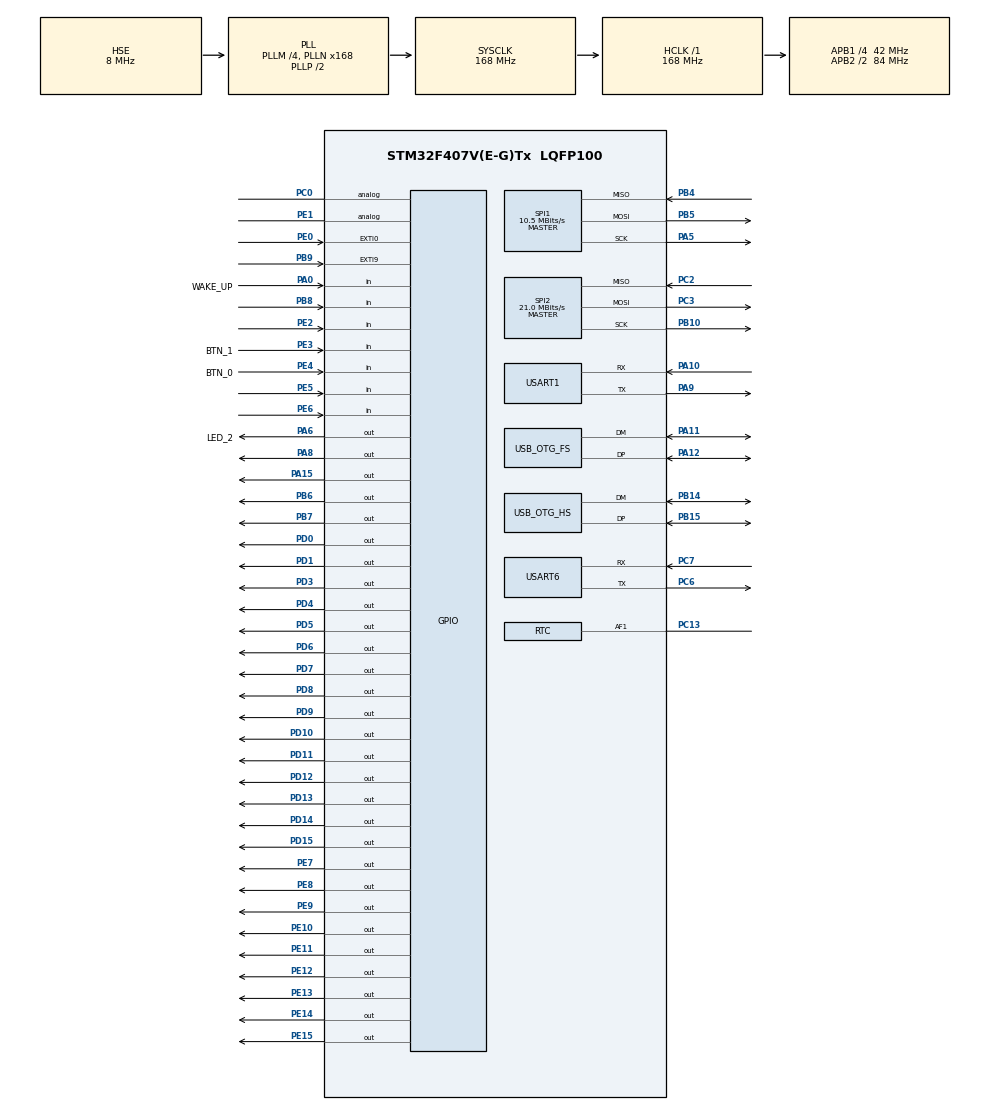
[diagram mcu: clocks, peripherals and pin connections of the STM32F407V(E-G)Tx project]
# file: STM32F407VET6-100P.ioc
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Dma.Request0=USART6_RX
Dma.Request1=USART6_TX
Dma.Request2=USART1_RX
Dma.Request3=USART1_TX
Dma.USART1_RX.2.Direction=DMA_PERIPH_TO_MEMORY
Dma.USART1_RX.2.FIFOMode=DMA_FIFOMODE_DISABLE
Dma.USART1_RX.2.Instance=DMA2_Stream2
Dma.USART1_RX.2.MemDataAlignment=DMA_MDATAALIGN_BYTE
Dma.USART1_RX.2.MemInc=DMA_MINC_ENABLE
Dma.USART1_RX.2.Mode=DMA_NORMAL
Dma.USART1_RX.2.PeriphDataAlignment=DMA_PDATAALIGN_BYTE
Dma.USART1_RX.2.PeriphInc=DMA_PINC_DISABLE
Dma.USART1_RX.2.Priority=DMA_PRIORITY_LOW
Dma.USART1_TX.3.Direction=DMA_MEMORY_TO_PERIPH
Dma.USART1_TX.3.FIFOMode=DMA_FIFOMODE_DISABLE
Dma.USART1_TX.3.Instance=DMA2_Stream7
Dma.USART1_TX.3.MemDataAlignment=DMA_MDATAALIGN_BYTE
Dma.USART1_TX.3.MemInc=DMA_MINC_ENABLE
Dma.USART1_TX.3.Mode=DMA_NORMAL
Dma.USART1_TX.3.PeriphDataAlignment=DMA_PDATAALIGN_BYTE
Dma.USART1_TX.3.PeriphInc=DMA_PINC_DISABLE
Dma.USART1_TX.3.Priority=DMA_PRIORITY_LOW
Dma.USART6_RX.0.Direction=DMA_PERIPH_TO_MEMORY
Dma.USART6_RX.0.FIFOMode=DMA_FIFOMODE_DISABLE
Dma.USART6_RX.0.Instance=DMA2_Stream1
Dma.USART6_RX.0.MemDataAlignment=DMA_MDATAALIGN_BYTE
Dma.USART6_RX.0.MemInc=DMA_MINC_ENABLE
Dma.USART6_RX.0.Mode=DMA_NORMAL
Dma.USART6_RX.0.PeriphDataAlignment=DMA_PDATAALIGN_BYTE
Dma.USART6_RX.0.PeriphInc=DMA_PINC_DISABLE
Dma.USART6_RX.0.Priority=DMA_PRIORITY_LOW
Dma.USART6_TX.1.Direction=DMA_MEMORY_TO_PERIPH
Dma.USART6_TX.1.FIFOMode=DMA_FIFOMODE_DISABLE
Dma.USART6_TX.1.Instance=DMA2_Stream6
Dma.USART6_TX.1.MemDataAlignment=DMA_MDATAALIGN_BYTE
Dma.USART6_TX.1.MemInc=DMA_MINC_ENABLE
Dma.USART6_TX.1.Mode=DMA_NORMAL
Dma.USART6_TX.1.PeriphDataAlignment=DMA_PDATAALIGN_BYTE
Dma.USART6_TX.1.PeriphInc=DMA_PINC_DISABLE
Dma.USART6_TX.1.Priority=DMA_PRIORITY_LOW
IWDG.Prescaler=IWDG_PRESCALER_8
Mcu.Family=STM32F4
Mcu.Name=STM32F407V(E-G)Tx
Mcu.Package=LQFP100
NVIC.DMA2_Stream1_IRQn=true\:0\:0\:false\:false\:true\:false\:true
NVIC.DMA2_Stream2_IRQn=true\:0\:0\:false\:false\:true\:false\:true
NVIC.DMA2_Stream6_IRQn=true\:0\:0\:true\:false\:true\:false\:true
NVIC.DMA2_Stream7_IRQn=true\:0\:0\:true\:false\:true\:false\:true
NVIC.OTG_FS_IRQn=true\:5\:0\:true\:false\:true\:true\:true
NVIC.OTG_HS_EP1_IN_IRQn=true\:6\:0\:true\:false\:true\:true\:true
NVIC.OTG_HS_EP1_OUT_IRQn=true\:6\:0\:true\:false\:true\:true\:true
NVIC.OTG_HS_IRQn=true\:7\:0\:true\:false\:true\:true\:true
NVIC.PriorityGroup=NVIC_PRIORITYGROUP_4
NVIC.RTC_Alarm_IRQn=true\:0\:0\:false\:false\:true\:true\:true
NVIC.SPI1_IRQn=true\:7\:0\:true\:false\:true\:true\:true
NVIC.SPI2_IRQn=true\:3\:0\:true\:false\:true\:true\:true
NVIC.USART1_IRQn=true\:6\:0\:true\:false\:true\:true\:true
NVIC.USART6_IRQn=true\:6\:0\:true\:false\:true\:true\:true
PA0-WKUP.GPIO_Label=WAKE_UP
PA0-WKUP.Signal=GPIO_Input
PA10.Mode=Asynchronous
PA10.Signal=USART1_RX
PA11.Mode=Device_Only
PA11.Signal=USB_OTG_FS_DM
PA12.Mode=Device_Only
PA12.Signal=USB_OTG_FS_DP
PA13.Mode=Trace_Asynchronous_SW
PA13.Signal=SYS_JTMS-SWDIO
PA14.Mode=Trace_Asynchronous_SW
PA14.Signal=SYS_JTCK-SWCLK
PA15.Signal=GPIO_Output
PA5.Mode=Full_Duplex_Master
PA5.Signal=SPI1_SCK
PA6.GPIO_Label=LED_2
PA6.GPIO_ModeDefaultOutputPP=GPIO_MODE_OUTPUT_PP
PA6.GPIO_PuPd=GPIO_NOPULL
PA6.GPIO_Speed=GPIO_SPEED_FREQ_LOW
PA6.PinState=GPIO_PIN_RESET
PA6.Signal=GPIO_Output
PA8.Signal=GPIO_Output
PA9.Mode=Asynchronous
PA9.Signal=USART1_TX
PB10.Mode=Full_Duplex_Master
PB10.Signal=SPI2_SCK
PB14.Mode=Device_Only_FS
PB14.Signal=USB_OTG_HS_DM
PB15.Mode=Device_Only_FS
PB15.Signal=USB_OTG_HS_DP
PB3.Mode=Trace_Asynchronous_SW
PB3.Signal=SYS_JTDO-SWO
PB4.GPIO_Mode=GPIO_MODE_AF_PP
PB4.GPIO_PuPd=GPIO_NOPULL
PB4.GPIO_Speed=GPIO_SPEED_FREQ_VERY_HIGH
PB4.Mode=Full_Duplex_Master
PB4.Signal=SPI1_MISO
PB5.GPIO_Mode=GPIO_MODE_AF_PP
PB5.GPIO_PuPd=GPIO_NOPULL
PB5.GPIO_Speed=GPIO_SPEED_FREQ_VERY_HIGH
PB5.Mode=Full_Duplex_Master
PB5.Signal=SPI1_MOSI
PB6.GPIO_ModeDefaultOutputPP=GPIO_MODE_OUTPUT_PP
PB6.GPIO_PuPd=GPIO_NOPULL
PB6.GPIO_Speed=GPIO_SPEED_FREQ_LOW
PB6.PinState=GPIO_PIN_RESET
PB6.Signal=GPIO_Output
PB7.GPIO_ModeDefaultOutputPP=GPIO_MODE_OUTPUT_PP
PB7.GPIO_PuPd=GPIO_NOPULL
PB7.GPIO_Speed=GPIO_SPEED_FREQ_LOW
PB7.PinState=GPIO_PIN_RESET
PB7.Signal=GPIO_Output
PB8.GPIO_Mode=GPIO_MODE_INPUT
PB8.GPIO_PuPd=GPIO_NOPULL
PB8.Signal=GPIO_Input
PB9.Signal=GPXTI9
PC0.Signal=GPIO_Analog
PC13-ANTI_TAMP.Mode=AlarmA_RoutedAF
PC13-ANTI_TAMP.Signal=RTC_AF1
PC14-OSC32_IN.Mode=LSE-External-Oscillator
PC14-OSC32_IN.Signal=RCC_OSC32_IN
PC15-OSC32_OUT.Mode=LSE-External-Oscillator
PC15-OSC32_OUT.Signal=RCC_OSC32_OUT
PC2.Mode=Full_Duplex_Master
PC2.Signal=SPI2_MISO
PC3.Mode=Full_Duplex_Master
PC3.Signal=SPI2_MOSI
PC6.Mode=Asynchronous
PC6.Signal=USART6_TX
PC7.Mode=Asynchronous
PC7.Signal=USART6_RX
PD0.Signal=GPIO_Output
PD1.Signal=GPIO_Output
PD10.Signal=GPIO_Output
PD11.Signal=GPIO_Output
PD12.Signal=GPIO_Output
PD13.Signal=GPIO_Output
PD14.Signal=GPIO_Output
PD15.Signal=GPIO_Output
PD3.Signal=GPIO_Output
PD4.Signal=GPIO_Output
PD5.Signal=GPIO_Output
PD6.Signal=GPIO_Output
PD7.Signal=GPIO_Output
PD8.Signal=GPIO_Output
PD9.Signal=GPIO_Output
PE0.Signal=GPXTI0
PE1.Signal=GPIO_Analog
PE10.Signal=GPIO_Output
PE11.Signal=GPIO_Output
PE12.Signal=GPIO_Output
PE13.Signal=GPIO_Output
PE14.Signal=GPIO_Output
PE15.Signal=GPIO_Output
PE2.Signal=GPIO_Input
PE3.GPIO_Label=BTN_1
PE3.Signal=GPIO_Input
PE4.GPIO_Label=BTN_0
PE4.GPIO_Mode=GPIO_MODE_INPUT
PE4.GPIO_PuPd=GPIO_NOPULL
PE4.Signal=GPIO_Input
PE5.Signal=GPIO_Input
PE6.Signal=GPIO_Input
PE7.Signal=GPIO_Output
PE8.Signal=GPIO_Output
PE9.Signal=GPIO_Output
PH0-OSC_IN.Mode=HSE-External-Oscillator
PH0-OSC_IN.Signal=RCC_OSC_IN
PH1-OSC_OUT.Mode=HSE-External-Oscillator
PH1-OSC_OUT.Signal=RCC_OSC_OUT
ProjectManager.HeapSize=0x4000
ProjectManager.StackSize=0x8000
ProjectManager.TargetToolchain=MDK-ARM V5
RCC.48MHZClocksFreq_Value=48000000
RCC.AHBFreq_Value=168000000
RCC.APB1CLKDivider=RCC_HCLK_DIV4
RCC.APB1Freq_Value=42000000
RCC.APB1TimFreq_Value=84000000
RCC.APB2CLKDivider=RCC_HCLK_DIV2
RCC.APB2Freq_Value=84000000
RCC.APB2TimFreq_Value=168000000
RCC.CortexFreq_Value=168000000
RCC.HCLKFreq_Value=168000000
RCC.HSE_VALUE=8000000
RCC.HSI_VALUE=16000000
RCC.PLLM=4
RCC.PLLN=168
RCC.PLLQ=7
RCC.RCC_RTC_Clock_Source=RCC_RTCCLKSOURCE_LSE
RCC.RCC_RTC_Clock_SourceVirtual=RCC_RTCCLKSOURCE_LSE
RCC.SYSCLKFreq_VALUE=168000000
RCC.SYSCLKSource=RCC_SYSCLKSOURCE_PLLCLK
RCC.VCOOutputFreq_Value=336000000
RTC.Alarm=RTC_ALARM_A
SPI1.BaudRatePrescaler=SPI_BAUDRATEPRESCALER_8
SPI1.CalculateBaudRate=10.5 MBits/s
SPI1.Direction=SPI_DIRECTION_2LINES
SPI1.Mode=SPI_MODE_MASTER
SPI1.VirtualType=VM_MASTER
SPI2.CalculateBaudRate=21.0 MBits/s
SPI2.Direction=SPI_DIRECTION_2LINES
SPI2.Mode=SPI_MODE_MASTER
SPI2.VirtualType=VM_MASTER
USART1.VirtualMode=VM_ASYNC
USART6.VirtualMode=VM_ASYNC
USB_DEVICE.CLASS_NAME_FS=CDC
USB_DEVICE.VirtualMode-CDC_FS=Cdc
USB_DEVICE.VirtualModeFS=Cdc_FS
USB_OTG_FS.VirtualMode=Device_Only
USB_OTG_HS.VirtualMode-Device_Only_FS=Device_Only_FS
VP_CRC_VS_CRC.Mode=CRC_Activate
VP_IWDG_VS_IWDG.Mode=IWDG_Activate
VP_RTC_VS_RTC_Activate.Mode=RTC_Enabled
VP_RTC_VS_RTC_Calendar.Mode=RTC_Calendar
VP_USB_DEVICE_VS_USB_DEVICE_CDC_FS.Mode=CDC_FS
board=custom

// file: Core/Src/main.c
/* USER CODE BEGIN Header */
/**
  ******************************************************************************
  * @file           : main.c
  * @brief          : Main program body
  ******************************************************************************
  * @attention
  *
  * <h2><center>&copy; Copyright (c) 2019 STMicroelectronics.
  * All rights reserved.</center></h2>
  *
  * This software component is licensed by ST under Ultimate Liberty license
  * SLA0044, the "License"; You may not use this file except in compliance with
  * the License. You may obtain a copy of the License at:
  *                             www.st.com/SLA0044
  *
  ******************************************************************************
  */
/* USER CODE END Header */

#include "main.h"
#include "crc.h"
#include "dma.h"
#include "iwdg.h"
#include "rtc.h"
#include "spi.h"
#include "usart.h"
//#include "usb_device.h"
//#include "usb_otg_hs.h"
#include "gpio.h"

/* USER CODE BEGIN Includes */
#include <stdlib.h>
#include <string.h>
#include <stdio.h>
#include "cmsis_os.h"                   // ARM::CMSIS:RTOS:Keil RTX
#include "rl_fs.h"                      // Keil.MDK-Plus::File System:CORE
#include "rl_net.h"                     // Keil.MDK-Pro::Network:CORE

//#include "usbd_cdc_if.h"

#define BT_port GPIOE
#define rd(k)  HAL_GPIO_ReadPin(BT_port, k)

#define BT_SET  GPIO_PIN_2
#define BT_UP   GPIO_PIN_3
#define BT_DW   GPIO_PIN_4

void toggle_led1 (void const *arg);
void toggle_led2 (void const *arg);
void show7segment (void const *arg);
void readswitch (void const *arg);

osThreadDef (toggle_led1, osPriorityNormal, 1, 0);
osThreadDef (toggle_led2, osPriorityNormal, 1, 0);
osThreadDef (show7segment, osPriorityNormal, 1, 0);
osThreadDef (readswitch, osPriorityNormal, 1, 0);

osThreadId ID_th1;
osThreadId ID_th2;
osThreadId ID_th3;
osThreadId ID_th4;

osSemaphoreDef(accessdata);
osSemaphoreId (accessdata_id);

/* USER CODE END Includes */

/* USER CODE BEGIN PTD */

FILE *fl;
RTC_TimeTypeDef Timeupdate = {0} ;
RTC_DateTypeDef Dateupdate = {0};
RTC_TimeTypeDef Timeset = {0} ;
RTC_DateTypeDef Dateset = {0};

uint8_t clockdata[4] = {0};
uint8_t datedata[4] = {0};
uint8_t timedata[8] = {0};
uint8_t menusetup;

//const char digits[]= {128,64,32,16,8,4,2,1 };
const char digits[]= {1,2,4,8,16,32,64,128 };
						//digit   1 2 3 4 not
//const char digits[]= {1,2,4,8,0};

//character set (0-9)0-9
  //            (10-19)0.-9.
  //            (20-45)A-Z
  //            (46-71)a-z
  //            (72)- (73) space
const char characters[]= {
	//0  1    2     3   4    5    6    7    8    9    10
 0xC0,0xF9,0xA4,0xB0,0x99,0x92,0x82,0xF8,0x80,0x90,0xFF,
}; //72-73
//        0           1          2        3					4					5			     6			7
//enum{standby, setMinutes, setHours ,setDate, setMonth, setWeekday, setYear ,save};
enum{standby, setMinutes, setHours ,setDate, setMonth,save};
uint8_t modesetup = standby;

/* USER CODE END PTD */

/* USER CODE BEGIN PM */

uint16_t spitxcount;
void HAL_SPI_TxCpltCallback(SPI_HandleTypeDef *hspi)
{
	if(hspi->Instance == SPI1){
		spitxcount++;
		HAL_GPIO_WritePin(GPIOB,GPIO_PIN_7,GPIO_PIN_SET);
		//osDelay(1);
		HAL_GPIO_WritePin(GPIOB,GPIO_PIN_7,GPIO_PIN_RESET);
	}

}

/* USER CODE END PM */

/* USER CODE BEGIN PV */

int32_t udp_sock;

// Notify the user application about UDP socket events.
uint32_t udp_cb_func (int32_t socket, const NET_ADDR *addr, const uint8_t *buf, uint32_t len) {

	return 0;
}

// Send UDP data to destination client.
void test_send_udp_data (void) {

  if (udp_sock >= 0) {
    // IPv4 address: 192.168.0.1
    NET_ADDR addr = { NET_ADDR_IP4, 20001, 192, 168, 1, 10 };

    uint8_t *sendbuf;
		const char my_name[] = "P'Boat.";
		uint16_t len = sizeof(my_name);

    sendbuf = netUDP_GetBuffer ( len );

		memcpy ( sendbuf , my_name , len );

		netUDP_Send (udp_sock, &addr, sendbuf, len );

  }
}

/* USER CODE END PV */

void SystemClock_Config(void);

int main(void)
{

  /* MCU Configuration--------------------------------------------------------*/

  /* Reset of all
	peripherals, Initializes the Flash interface and the Systick. */
  HAL_Init();

  /* USER CODE BEGIN Init */

	static fsStatus SDCard_State;

  /* USER CODE END Init */

  /* Configure the system clock */
  SystemClock_Config();

  /* USER CODE BEGIN SysInit */

	osKernelInitialize();
	netInitialize();

  /* USER CODE END SysInit */

  /* Initialize all configured peripherals */
  MX_GPIO_Init();
  MX_DMA_Init();
  MX_SPI1_Init();
  MX_USART1_UART_Init();
  MX_CRC_Init();
  MX_RTC_Init();
//  MX_USB_DEVICE_Init();
//  MX_IWDG_Init();
  MX_SPI2_Init();
  MX_USART6_UART_Init();
//  MX_USB_OTG_HS_PCD_Init();
  /* USER CODE BEGIN 2 */

	for(uint8_t i =0; i<255; i++)
  {
		HAL_IWDG_Refresh(&hiwdg);
		HAL_GPIO_TogglePin(GPIOA,GPIO_PIN_6);
		HAL_GPIO_TogglePin(GPIOA,GPIO_PIN_7);
		osDelay(20);
  }

	SDCard_State = finit ("M0:");
	SDCard_State = fmount ("M0:");
	osDelay(5);
	fl = fopen ("M0:Logging.CSV","a");     /* Open a file from current drive. */

	osKernelStart();
	accessdata_id = osSemaphoreCreate(osSemaphore(accessdata), 1);
	ID_th1 = osThreadCreate(osThread(toggle_led1), NULL);
	ID_th2 = osThreadCreate(osThread(toggle_led2), NULL);
	ID_th3 = osThreadCreate(osThread(show7segment), NULL);
	ID_th4 = osThreadCreate(osThread(readswitch), NULL);

	udp_sock = netUDP_GetSocket (udp_cb_func);
	if (udp_sock >= 0) {
		netUDP_Open (udp_sock,1138);
	}

  /* USER CODE END 2 */

  /* Infinite loop */
  while (1)
  {

		//HAL_IWDG_Refresh(&hiwdg);
		osDelay(200);

  }
}

void SystemClock_Config(void)
{
  RCC_OscInitTypeDef RCC_OscInitStruct = {0};
  RCC_ClkInitTypeDef RCC_ClkInitStruct = {0};
  RCC_PeriphCLKInitTypeDef PeriphClkInitStruct = {0};

  /** Configure the main internal regulator output voltage
  */
  __HAL_RCC_PWR_CLK_ENABLE();
  __HAL_PWR_VOLTAGESCALING_CONFIG(PWR_REGULATOR_VOLTAGE_SCALE1);
  /** Initializes the CPU, AHB and APB busses clocks
  */
  RCC_OscInitStruct.OscillatorType = RCC_OSCILLATORTYPE_LSI|RCC_OSCILLATORTYPE_HSE
                              |RCC_OSCILLATORTYPE_LSE;
  RCC_OscInitStruct.HSEState = RCC_HSE_ON;
  RCC_OscInitStruct.LSEState = RCC_LSE_ON;
  RCC_OscInitStruct.LSIState = RCC_LSI_ON;
  RCC_OscInitStruct.PLL.PLLState = RCC_PLL_ON;
  RCC_OscInitStruct.PLL.PLLSource = RCC_PLLSOURCE_HSE;
  RCC_OscInitStruct.PLL.PLLM = 4;
  RCC_OscInitStruct.PLL.PLLN = 168;
  RCC_OscInitStruct.PLL.PLLP = RCC_PLLP_DIV2;
  RCC_OscInitStruct.PLL.PLLQ = 7;
  if (HAL_RCC_OscConfig(&RCC_OscInitStruct) != HAL_OK)
  {
    Error_Handler();
  }
  /** Initializes the CPU, AHB and APB busses clocks
  */
  RCC_ClkInitStruct.ClockType = RCC_CLOCKTYPE_HCLK|RCC_CLOCKTYPE_SYSCLK
                              |RCC_CLOCKTYPE_PCLK1|RCC_CLOCKTYPE_PCLK2;
  RCC_ClkInitStruct.SYSCLKSource = RCC_SYSCLKSOURCE_PLLCLK;
  RCC_ClkInitStruct.AHBCLKDivider = RCC_SYSCLK_DIV1;
  RCC_ClkInitStruct.APB1CLKDivider = RCC_HCLK_DIV4;
  RCC_ClkInitStruct.APB2CLKDivider = RCC_HCLK_DIV2;

  if (HAL_RCC_ClockConfig(&RCC_ClkInitStruct, FLASH_LATENCY_5) != HAL_OK)
  {
    Error_Handler();
  }
  PeriphClkInitStruct.PeriphClockSelection = RCC_PERIPHCLK_RTC;
  PeriphClkInitStruct.RTCClockSelection = RCC_RTCCLKSOURCE_LSE;
  if (HAL_RCCEx_PeriphCLKConfig(&PeriphClkInitStruct) != HAL_OK)
  {
    Error_Handler();
  }
}

/* USER CODE BEGIN 4 */

uint16_t fcount=1 ;
void toggle_led1(void const * arg )
{

	while (1)
  {

		if(fl != NULL){
			if(fcount % 10 == 0){
				fprintf(fl, "Index(%d)%d:%d:%d %d/%d/%d\n",fcount,Timeupdate.Hours,Timeupdate.Minutes,Timeupdate.Seconds,Dateupdate.Date,Dateupdate.Month,Dateupdate.Year);
				fclose(fl);
				fl = fopen ("M0:Logging.CSV","a");

			}
			else {

				fprintf(fl, "Index(%d)%d:%d:%d %d/%d/%d,",fcount,Timeupdate.Hours,Timeupdate.Minutes,Timeupdate.Seconds,Dateupdate.Date,Dateupdate.Month,Dateupdate.Year);

			}

			fcount++;
		}

		test_send_udp_data ();

		HAL_GPIO_TogglePin(GPIOA,GPIO_PIN_6);
		osDelay(1000);
	}

}

void toggle_led2(void const * arg )
{
	while (1)
  {
		HAL_GPIO_WritePin(GPIOD,GPIO_PIN_8,GPIO_PIN_SET); //debug time

		switch (modesetup)
		{
			case standby :
				HAL_RTC_GetTime(&hrtc, &Timeupdate, FORMAT_BIN);
				HAL_RTC_GetDate(&hrtc, &Dateupdate, FORMAT_BIN);

				//for 7segment 4 digit
//				osSemaphoreWait(accessdata_id, osWaitForever);
//				// Date
//				datedata[3] = characters[Dateupdate.Date / 10];
//				datedata[2] = characters[Dateupdate.Date % 10];
//				datedata[2] = datedata[2] &= ~(0x80);
//				datedata[1] = characters[Dateupdate.Month / 10];
//				datedata[0] = characters[Dateupdate.Month % 10];
//
//				// Time
//				clockdata[3] = characters[Timeupdate.Hours / 10];
//
//				if(Timeupdate.Seconds % 2){
//					clockdata[2] = characters[(Timeupdate.Hours % 10)];
//				}
//				else{
//					clockdata[2] = characters[(Timeupdate.Hours % 10)];
//					clockdata[2] = clockdata[2] &= ~(0x80);
//				}
//				clockdata[1] = characters[Timeupdate.Minutes / 10] ;
//				clockdata[0] = characters[Timeupdate.Minutes % 10] ;
//				osSemaphoreRelease(accessdata_id);

			   // for 7segment 8 digit
				osSemaphoreWait(accessdata_id, osWaitForever);
				// Date
				timedata[7] = characters[Dateupdate.Date / 10];
				if(timedata[7] == characters[0])timedata[7] = characters[10]; //show blank
				timedata[6] = characters[Dateupdate.Date % 10];
				timedata[6] = timedata[6] &= ~(0x80);
				timedata[5] = characters[Dateupdate.Month / 10];
				timedata[4] = characters[Dateupdate.Month % 10];

				// Time
				timedata[3] = characters[Timeupdate.Hours / 10];
				if(timedata[3] == characters[0])timedata[3] = characters[10]; //show blank
				if(Timeupdate.Seconds % 2){
					timedata[2] = characters[(Timeupdate.Hours % 10)];
				}
				else{
					timedata[2] = characters[(Timeupdate.Hours % 10)];
					timedata[2] = timedata[2] &= ~(0x80);  //add dot
				}

				timedata[1] = characters[Timeupdate.Minutes / 10] ;
				timedata[0] = characters[Timeupdate.Minutes % 10] ;
				osSemaphoreRelease(accessdata_id);

				break;

			case setMinutes :
				osSemaphoreWait(accessdata_id, osWaitForever);
				// Date
				timedata[7] = characters[10]; // show Blank
				timedata[6] = characters[10]; // show Blank

				timedata[5] = characters[10]; // show Blank
				timedata[4] = characters[10]; // show Blank

				// Time
				timedata[3] = characters[10]; // show Blank
				timedata[2] = characters[10]; // show Blank

				timedata[1] = characters[Timeset.Minutes / 10] ;
				timedata[0] = characters[Timeset.Minutes % 10] ;
				timedata[0] = timedata[0] &= ~(0x80);
				osSemaphoreRelease(accessdata_id);

				break;
			case setHours :
				osSemaphoreWait(accessdata_id, osWaitForever);
				// Date
				timedata[7] = characters[10]; // show Blank
				timedata[6] = characters[10]; // show Blank

				timedata[5] = characters[10]; // show Blank
				timedata[4] = characters[10]; // show Blank

				// Time
				timedata[3] = characters[Timeset.Hours / 10];
				timedata[2] = characters[(Timeset.Hours % 10)];
				timedata[2] = timedata[2] &= ~(0x80);

				timedata[1] = characters[10] ; // show Blank
				timedata[0] = characters[10] ; // show Blank

				osSemaphoreRelease(accessdata_id);

				break;
			case setDate :
				osSemaphoreWait(accessdata_id, osWaitForever);
				// Date
				timedata[7] = characters[Dateset.Date / 10];
				timedata[6] = characters[Dateset.Date % 10];
				timedata[6] = timedata[6] &= ~(0x80);

				timedata[5] = characters[10]; // show Blank
				timedata[4] = characters[10]; // show Blank

				// Time
				timedata[3] = characters[10]; // show Blank
				timedata[2] = characters[10]; // show Blank

				timedata[1] = characters[10] ; // show Blank
				timedata[0] = characters[10] ; // show Blank

				osSemaphoreRelease(accessdata_id);
				break;
			case setMonth :
				osSemaphoreWait(accessdata_id, osWaitForever);
				// Date
				timedata[7] = characters[10]; // show Blank
				timedata[6] = characters[10]; // show Blank

				timedata[5] = characters[Dateset.Month / 10];
				timedata[4] = characters[Dateset.Month % 10];
				timedata[4] = timedata[4] &= ~(0x80);

				// Time
				timedata[3] = characters[10]; // show Blank
				timedata[2] = characters[10]; // show Blank

				timedata[1] = characters[10]; // show Blank
				timedata[0] = characters[10]; // show Blank

				osSemaphoreRelease(accessdata_id);
				break;

			default:
				break;
		}

		HAL_GPIO_WritePin(GPIOD,GPIO_PIN_8,GPIO_PIN_RESET); //debug time
		osDelay(500);
  }
}

void show7segment(void const * arg )
{
	static uint8_t digitcount;
	uint8_t spibuff[4] = {0};
	while (1)
  {

		osSemaphoreWait(accessdata_id, osWaitForever);
			//date 4 digit
//		spibuff[0] = (datedata[digitcount]);
//		spibuff[1] = (digits[digitcount]);
					//  jj
//		spibuff[2] = (clockdata[digitcount]);
//		spibuff[3] = (digits[digitcount]);

		//		8 digit
		spibuff[0] = (timedata[digitcount]);
		spibuff[1] = (digits[digitcount]);

		osSemaphoreRelease(accessdata_id);

		HAL_SPI_Transmit_IT(&hspi1, spibuff, 2);

		if(++digitcount > 7){
			digitcount = 0;
		}

		osDelay(2);
  }
}

uint16_t menutimecount;
void readswitch(void const * arg )
{

	while (1)
  {

		if(!rd(BT_SET))
		{
			osDelay(10);
			if(!rd(BT_SET))
			{
				menutimecount = 1500;
				if(modesetup == standby){
					Timeset = Timeupdate;
					Dateset = Dateupdate;
				}
				if(++modesetup >= save ){
					modesetup = standby;
					HAL_RTC_SetTime(&hrtc, &Timeset, RTC_FORMAT_BIN);
					HAL_RTC_SetDate(&hrtc, &Dateset, RTC_FORMAT_BIN);
					osDelay(300);

				}
				while (!rd(BT_SET))
        {
					osDelay(1);
        }
			}
		}
		else if((!rd(BT_UP)) && (modesetup > standby) )
		{
			osDelay(10);
			if(!rd(BT_UP))
			{
				menutimecount = 1500;
				switch (modesetup)
        {
        	case setMinutes :
						if(++Timeset.Minutes >59) Timeset.Minutes = 0;
        		break;
        	case setHours :
						if(++Timeset.Hours > 23) Timeset.Hours = 0;
        		break;
					case setDate :
						if(++Dateset.Date > 31 ) Dateset.Date = 1 ;
        		break;
        	case setMonth :
						if(++Dateset.Month > 12 ) Dateset.Month = 1 ;
        		break;
//					case setWeekday :
//						if(++Dateset.WeekDay > RTC_WEEKDAY_SUNDAY ) Dateset.WeekDay = RTC_WEEKDAY_MONDAY ;
//        		break;
//					case setYear :
//						if(++Dateset.Year > 99 ) Dateset.Year = 0 ;
//        		break;

        	default:
        		break;
        }
				while (!rd(BT_UP))
        {
					osDelay(1);
        }
			}

		}
		else if((!rd(BT_DW)) && (modesetup > standby) )
		{
			osDelay(10);
			if(!rd(BT_DW))
			{
				menutimecount = 1500;
				switch (modesetup)
        {
        	case setMinutes :
						if(--Timeset.Minutes > 100) Timeset.Minutes = 59;
        		break;
        	case setHours :
						if(--Timeset.Hours > 100) Timeset.Hours = 23;
        		break;
					case setDate :
						if(--Dateset.Date > 100 ) Dateset.Date = 31 ;
        		break;
        	case setMonth :
						if(--Dateset.Month > 100 ) Dateset.Month = 31 ;
        		break;

        	default:
        		break;
        }
				while (!rd(BT_DW))
        {
					osDelay(1);
        }
			}
		}

	 osDelay(10);

		if(menutimecount){
			if(--menutimecount==0)
			{
				modesetup = standby;
			}
		}

  }
}

/* USER CODE END 4 */

void Error_Handler(void)
{
}

/************************ (C) COPYRIGHT STMicroelectronics *****END OF FILE****/
